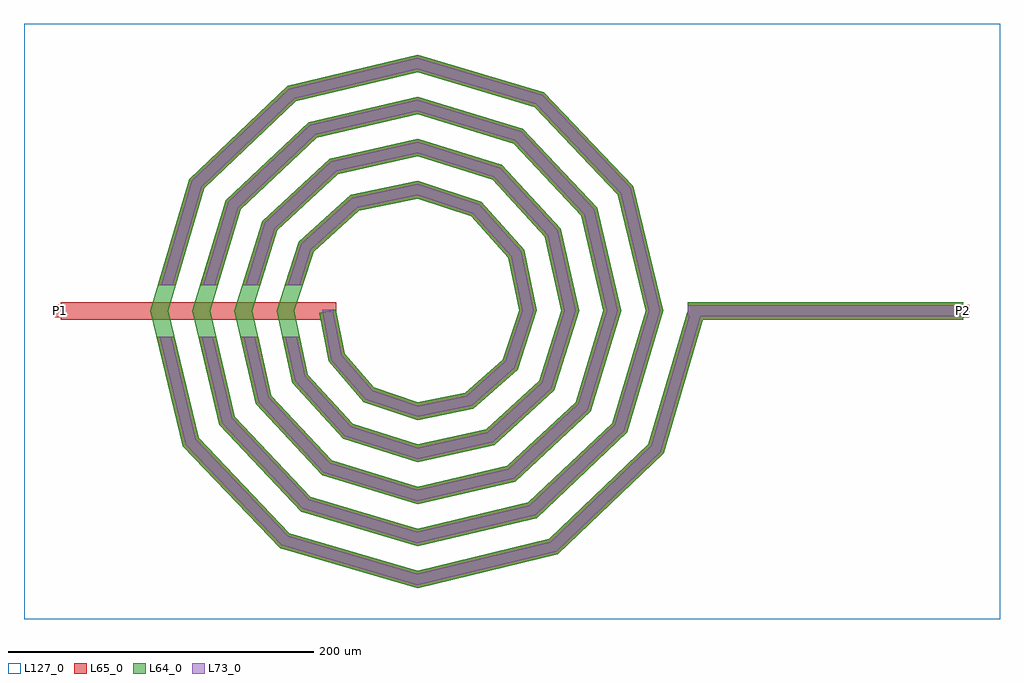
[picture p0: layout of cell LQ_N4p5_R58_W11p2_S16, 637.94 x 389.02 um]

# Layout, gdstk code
import gdstk
lib = gdstk.Library(unit=1e-6, precision=1e-09)
def R(c, l, rs):  # rectangles x0, y0, x1, y1
    for r in rs: c.add(gdstk.rectangle(r[:2], r[2:], *l))
def P(c, l, *ps):  # polygons
    for p in ps: c.add(gdstk.Polygon(p, *l))
L64_0 = (64, 0)
L65_0 = (65, 0)
L73_0 = (73, 0)
L127_0 = (127, 0)

lq_n4p5_r58_w11p2_s16 = lib.new_cell('LQ_N4p5_R58_W11p2_S16')
R(lq_n4p5_r58_w11p2_s16, L64_0, [(176.872,-5.6,356.872,5.6)])
P(lq_n4p5_r58_w11p2_s16, L64_0, [(-47.578,-27.938),(-28.394,-49.962),(0.378,-59.757),(31.341,-53.554),(55.898,-31.865),(66.633,0.342),(59.525,34.75),(35.33,61.837),(0.312,73.51),(-38.164,65.495),(-67.78,38.791),(-80.387,0.288),(-71.462,-41.582),(-42.249,-73.724),(0.266,-87.264),(45.003,-77.428),(79.671,-45.705),(94.142,0.248),(83.393,48.427),(49.158,85.618),(0.232,101.019),(-51.853,89.357),(-91.567,52.609),(-107.897,0.218),(-95.32,-55.28),(-56.059,-97.517),(0.206,-114.774),(58.708,-101.282),(103.467,-59.508),(121.652,0.195),(107.244,62.138),(62.956,109.419),(0.185,128.53),(-65.568,113.205),(-115.37,66.403),(-135.408,0.176),(-119.166,-69),(-69.849,-121.323),(0.167,-142.286),(72.432,-125.126),(127.275,-73.295),(149.164,0.16),(131.086,75.865),(76.74,133.228),(0.153,156.041),(-79.298,137.046),(-139.181,80.184),(-162.919,0.147),(-143.005,-82.732),(-83.628,-145.135),(0.141,-169.797),(86.166,-148.965),(151.089,-87.072),(177.098,1.577),(187.845,-1.577),(160.99,-93.107),(91.72,-159.143),(0.141,-181.39),(-89.672,-155.031),(-153.189,-88.276),(-174.511,0.147),(-149.071,86.238),(-84.832,147.236),(0.153,167.633),(82.805,143.111),(141.282,81.387),(160.755,0.16),(137.151,-79.372),(77.942,-135.329),(0.167,-153.877),(-75.939,-131.19),(-129.376,-74.496),(-146.998,0.176),(-125.229,72.507),(-71.049,123.424),(0.185,140.12),(69.076,119.268),(117.472,67.602),(133.242,0.195),(113.306,-65.646),(64.153,-111.52),(0.206,-126.363),(-62.217,-107.343),(-105.569,-60.704),(-119.485,0.218),(-101.38,58.789),(-57.253,99.619),(0.232,112.606),(55.362,95.416),(93.67,53.8),(105.728,0.248),(89.45,-51.937),(50.346,-87.721),(0.266,-98.849),(-48.514,-83.483),(-81.774,-46.889),(-91.97,0.288),(-77.515,45.094),(-43.429,75.828),(0.312,85.091),(41.677,71.544),(69.885,39.965),(78.211,0.342),(65.57,-38.265),(36.496,-63.943),(0.378,-71.331),(-34.858,-59.593),(-58.005,-33.02),(-64.165,-1.06),(-53.167,1.06)])
R(lq_n4p5_r58_w11p2_s16, L65_0, [(-233.066,-5.6,-53.066,5.6), (176.872,-5.6,356.872,5.6), (-237.066,-4,-229.066,4), (352.872,-4,360.872,4)])
P(lq_n4p5_r58_w11p2_s16, L65_0, [(-143.005,-82.732),(-83.629,-145.135),(0.141,-169.797),(86.166,-148.965),(151.089,-87.072),(177.098,1.577),(187.845,-1.577),(160.99,-93.107),(91.72,-159.143),(0.141,-181.39),(-89.672,-155.031),(-153.189,-88.277),(-170.425,-16.8),(-158.904,-16.8)],
  [(-119.166,-69),(-69.849,-121.323),(0.167,-142.286),(72.432,-125.126),(127.275,-73.295),(149.164,0.16),(131.086,75.865),(76.74,133.228),(0.153,156.042),(-79.298,137.046),(-139.181,80.184),(-157.912,16.8),(-169.59,16.8),(-149.071,86.238),(-84.832,147.236),(0.153,167.633),(82.805,143.111),(141.282,81.387),(160.755,0.16),(137.151,-79.372),(77.942,-135.329),(0.167,-153.877),(-75.939,-131.19),(-129.376,-74.496),(-142.992,-16.8),(-131.485,-16.8)],
  [(-95.32,-55.28),(-56.059,-97.517),(0.206,-114.774),(58.708,-101.282),(103.467,-59.508),(121.652,0.195),(107.244,62.138),(62.956,109.419),(0.185,128.53),(-65.569,113.205),(-115.37,66.403),(-130.299,16.8),(-141.995,16.8),(-125.229,72.507),(-71.049,123.424),(0.185,140.12),(69.076,119.268),(117.472,67.602),(133.242,0.195),(113.306,-65.646),(64.153,-111.52),(0.206,-126.363),(-62.217,-107.343),(-105.569,-60.704),(-115.598,-16.8),(-104.109,-16.8)],
  [(-71.462,-41.582),(-42.249,-73.724),(0.266,-87.264),(45.003,-77.428),(79.671,-45.705),(94.142,0.248),(83.393,48.427),(49.158,85.618),(0.232,101.019),(-51.853,89.357),(-91.567,52.609),(-102.636,16.8),(-114.359,16.8),(-101.38,58.789),(-57.253,99.619),(0.232,112.606),(55.362,95.416),(93.67,53.8),(105.728,0.248),(89.45,-51.937),(50.346,-87.721),(0.266,-98.849),(-48.514,-83.483),(-81.774,-46.889),(-88.277,-16.8),(-76.818,-16.8)],
  [(-28.394,-49.962),(0.378,-59.757),(31.341,-53.554),(55.898,-31.865),(66.633,0.342),(59.525,34.75),(35.33,61.837),(0.313,73.51),(-38.164,65.495),(-67.78,38.792),(-74.874,16.8),(-86.643,16.8),(-77.515,45.094),(-43.429,75.828),(0.313,85.091),(41.677,71.544),(69.885,39.965),(78.211,0.342),(65.57,-38.265),(36.496,-63.943),(0.378,-71.331),(-34.858,-59.593),(-58.005,-33.02),(-64.165,-1.06),(-53.167,1.06),(-47.579,-27.938)])
R(lq_n4p5_r58_w11p2_s16, L73_0, [(176.872,-3.6,356.872,3.6)])
P(lq_n4p5_r58_w11p2_s16, L73_0, [(-144.824,-83.722),(-84.708,-146.902),(0.091,-171.867),(87.158,-150.782),(152.857,-88.15),(179.017,1.014),(185.926,-1.014),(159.222,-92.029),(90.729,-157.326),(0.091,-179.32),(-88.593,-153.264),(-151.371,-87.286),(-168.368,-16.8),(-160.961,-16.8)],
  [(-120.989,-69.981),(-70.937,-123.085),(0.108,-144.356),(73.416,-126.948),(129.039,-74.38),(151.234,0.103),(132.907,76.851),(77.823,134.993),(0.099,158.111),(-80.286,138.866),(-140.947,81.265),(-159.997,16.8),(-167.505,16.8),(-147.305,85.157),(-83.844,145.416),(0.099,165.563),(81.722,141.346),(139.462,80.401),(158.685,0.103),(135.388,-78.287),(76.958,-133.507),(0.108,-151.807),(-74.852,-129.428),(-127.553,-73.515),(-140.937,-16.8),(-133.54,-16.8)],
  [(-97.15,-56.248),(-57.159,-99.272),(0.132,-116.844),(59.681,-103.11),(105.224,-60.604),(123.722,0.125),(109.07,63.114),(64.049,111.177),(0.119,130.6),(-66.547,115.03),(-117.131,67.493),(-132.387,16.8),(-139.907,16.8),(-123.469,71.417),(-70.071,121.599),(0.119,138.05),(67.983,117.509),(115.645,66.626),(131.172,0.125),(111.549,-64.55),(63.181,-109.692),(0.132,-124.294),(-61.117,-105.589),(-103.739,-59.735),(-113.546,-16.8),(-106.161,-16.8)],
  [(-73.304,-42.53),(-43.368,-75.467),(0.171,-89.333),(45.957,-79.266),(81.417,-46.818),(96.211,0.159),(85.228,49.387),(50.266,87.368),(0.149,103.088),(-52.817,91.189),(-93.319,53.713),(-104.73,16.8),(-112.266,16.8),(-99.628,57.685),(-56.288,97.787),(0.149,110.537),(54.254,93.666),(91.835,52.841),(103.659,0.159),(87.704,-50.824),(49.392,-85.883),(0.171,-96.78),(-47.396,-81.741),(-79.933,-45.941),(-86.231,-16.8),(-78.864,-16.8)],
  [(-29.548,-51.682),(0.243,-61.824),(32.261,-55.409),(57.625,-33.008),(68.701,0.22),(61.375,35.681),(36.464,63.571),(0.201,75.578),(-39.104,67.34),(-69.518,39.917),(-76.976,16.8),(-84.541,16.8),(-75.776,43.969),(-42.489,73.983),(0.201,83.023),(40.544,69.811),(68.035,39.034),(76.144,0.22),(63.843,-37.122),(35.576,-62.088),(0.243,-69.264),(-33.704,-57.873),(-56.143,-32.113),(-62.201,0.681),(-55.131,0.681),(-49.44,-28.846)])
R(lq_n4p5_r58_w11p2_s16, L127_0, [(-257.066,-201.39,380.872,187.633)])
lq_n4p5_r58_w11p2_s16.add(gdstk.Label('P2', (356.872,0), layer=65, texttype=0))
lq_n4p5_r58_w11p2_s16.add(gdstk.Label('P1', (-233.066,0), layer=65, texttype=0))
lq_n4p5_r58_w11p2_s16.add(gdstk.Label('P2', (360.872,0), layer=145, texttype=0))
lq_n4p5_r58_w11p2_s16.add(gdstk.Label('P1', (-237.066,0), layer=145, texttype=0))

lib.write_gds('LQ_N4p5_R58_W11p2_S16.gds')
